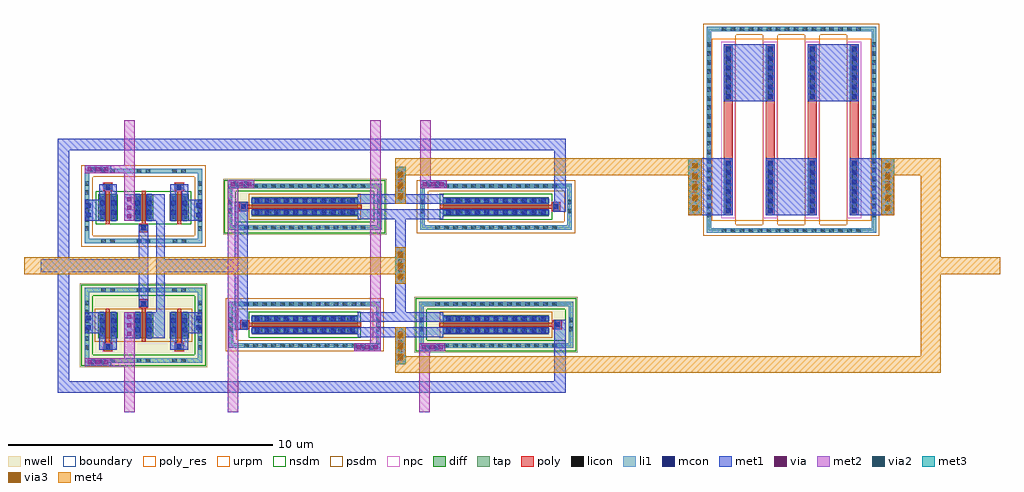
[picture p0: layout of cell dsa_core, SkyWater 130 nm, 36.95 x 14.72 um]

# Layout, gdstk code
from math import pi, radians
import gdstk
lib = gdstk.Library(unit=1e-6, precision=1e-09)
def R(c, l, rs):  # rectangles x0, y0, x1, y1
    for r in rs: c.add(gdstk.rectangle(r[:2], r[2:], *l))
def A(c, l, x, y, w, h, nx, ny, dx, dy):  # array of equal rectangles
    R(c, l, [(x+i*dx, y+j*dy, x+i*dx+w, y+j*dy+h) for i in range(nx) for j in range(ny)])
nwell = (64, 20)
diff = (65, 20)
tap = (65, 44)
poly_res = (66, 13)
poly = (66, 20)
licon = (66, 44)
li1 = (67, 20)
mcon = (67, 44)
met1 = (68, 20)
via = (68, 44)
met2 = (69, 20)
via2 = (69, 44)
met3 = (70, 20)
via3 = (70, 44)
met4 = (71, 20)
urpm = (79, 20)
nsdm = (93, 44)
psdm = (94, 20)
npc = (95, 20)
boundary = (235, 4)

via_new_6 = lib.new_cell('via_new$6')
A(via_new_6, via, 0.175, -0.875, 0.15, 0.15, 1, 6, 0, 0.32)
A(via_new_6, via2, 0.15, -0.9, 0.2, 0.2, 1, 5, 0, 0.4)
A(via_new_6, via3, 0.15, -0.9, 0.2, 0.2, 1, 5, 0, 0.4)
via_new_6.add(gdstk.FlexPath([(0,0),(0.5,0)], 2.16, ends="flush", simple_path=True, layer=68, datatype=20))  # met1
via_new_6.add(gdstk.FlexPath([(0,0),(0.5,0)], 2.16, ends="flush", simple_path=True, layer=69, datatype=20))  # met2
via_new_6.add(gdstk.FlexPath([(0,0),(0.5,0)], 2.16, ends="flush", simple_path=True, layer=70, datatype=20))  # met3
via_new_6.add(gdstk.FlexPath([(0,0),(0.5,0)], 2.16, ends="flush", simple_path=True, layer=71, datatype=20))  # met4

sky130_fd_pr__res_xhigh_ = lib.new_cell('sky130_fd_pr__res_xhigh_po_0p35')
R(sky130_fd_pr__res_xhigh_, tap, [(0.125,0.125,6.545,0.295), (0.125,0.295,0.295,7.745), (6.375,0.295,6.545,7.745), (0.125,7.745,6.545,7.915)])
A(sky130_fd_pr__res_xhigh_, poly_res, 0.775, 2.875, 0.35, 2.29, 4, 1, 1.59, 0)
A(sky130_fd_pr__res_xhigh_, poly, 0.775, 0.775, 0.35, 6.49, 4, 1, 1.59, 0)
A(sky130_fd_pr__res_xhigh_, licon, 0.7, 0.125, 0.17, 0.17, 16, 2, 0.34, 7.62)
A(sky130_fd_pr__res_xhigh_, licon, 0.125, 0.705, 0.17, 0.17, 1, 20, 0, 0.34)
A(sky130_fd_pr__res_xhigh_, licon, 6.375, 0.705, 0.17, 0.17, 1, 20, 0, 0.34)
A(sky130_fd_pr__res_xhigh_, licon, 0.855, 0.855, 0.19, 2, 4, 2, 1.59, 4.33)
A(sky130_fd_pr__res_xhigh_, li1, 0.775, 0.775, 0.35, 2.16, 4, 2, 1.59, 4.33)
R(sky130_fd_pr__res_xhigh_, li1, [(0.125,0.125,6.545,0.295), (0.125,0.295,0.295,7.745), (6.375,0.295,6.545,7.745), (0.125,7.745,6.545,7.915)])
A(sky130_fd_pr__res_xhigh_, mcon, 0.865, 0.87, 0.17, 0.17, 4, 6, 1.59, 0.36)
A(sky130_fd_pr__res_xhigh_, mcon, 0.865, 5.195, 0.17, 0.17, 4, 6, 1.59, 0.36)
A(sky130_fd_pr__res_xhigh_, met1, 0.825, 0.805, 0.25, 2.105, 4, 2, 1.59, 4.325)
R(sky130_fd_pr__res_xhigh_, met1, [(2.365,0.775,4.305,2.935), (0.775,5.105,2.715,7.265), (3.955,5.105,5.895,7.265)])
R(sky130_fd_pr__res_xhigh_, urpm, [(0.315,0.575,6.355,7.465)])
R(sky130_fd_pr__res_xhigh_, psdm, [(0,0,6.67,0.42), (0,0.42,1.235,7.62), (2.255,0.42,2.825,7.62), (3.845,0.42,4.415,7.62), (5.435,0.42,6.67,7.62), (0,7.62,6.67,8.04)])
A(sky130_fd_pr__res_xhigh_, npc, 0.68, 0.68, 0.54, 6.68, 4, 1, 1.59, 0)
R(sky130_fd_pr__res_xhigh_, boundary, [(0.21,0.21,6.46,7.83)])

via_new_1 = lib.new_cell('via_new$1')
A(via_new_1, via, 0.135, -0.075, 0.15, 0.15, 4, 1, 0.32, 0)
A(via_new_1, via2, 0.19, -0.1, 0.2, 0.2, 3, 1, 0.4, 0)
A(via_new_1, via3, 0.19, -0.1, 0.2, 0.2, 3, 1, 0.4, 0)
via_new_1.add(gdstk.FlexPath([(0,0),(1.38,0)], 0.4, ends="flush", simple_path=True, layer=68, datatype=20))  # met1
via_new_1.add(gdstk.FlexPath([(0,0),(1.38,0)], 0.4, ends="flush", simple_path=True, layer=69, datatype=20))  # met2
via_new_1.add(gdstk.FlexPath([(0,0),(1.38,0)], 0.4, ends="flush", simple_path=True, layer=70, datatype=20))  # met3
via_new_1.add(gdstk.FlexPath([(0,0),(1.38,0)], 0.4, ends="flush", simple_path=True, layer=71, datatype=20))  # met4

sky130_fd_pr__nfet_01v8_ = lib.new_cell('sky130_fd_pr__nfet_01v8$3')
R(sky130_fd_pr__nfet_01v8_, diff, [(-11.055,2.525,-7.055,3.255)])
R(sky130_fd_pr__nfet_01v8_, tap, [(-11.925,2.015,-11.755,3.765), (-11.755,2.015,-6.355,2.185), (-6.355,2.015,-6.185,3.765), (-11.755,3.595,-6.355,3.765)])
R(sky130_fd_pr__nfet_01v8_, poly, [(-11.495,2.725,-11.165,3.055), (-11.165,2.815,-6.945,2.965)])
A(sky130_fd_pr__nfet_01v8_, licon, -11.35, 2.015, 0.17, 0.17, 14, 2, 0.34, 1.58)
A(sky130_fd_pr__nfet_01v8_, licon, -10.84, 2.585, 0.17, 0.17, 11, 2, 0.34, 0.44)
R(sky130_fd_pr__nfet_01v8_, licon, [(-11.925,2.635,-11.755,2.805), (-6.355,2.635,-6.185,2.805), (-11.415,2.805,-11.245,2.975), (-11.925,2.975,-11.755,3.145), (-6.355,2.975,-6.185,3.145)])
R(sky130_fd_pr__nfet_01v8_, li1, [(-11.925,2.015,-11.755,3.765), (-11.755,2.015,-6.355,2.185), (-6.355,2.015,-6.185,3.765), (-11.075,2.585,-7.035,2.755), (-11.415,2.725,-11.245,3.055), (-11.075,3.025,-7.035,3.195), (-11.755,3.595,-6.355,3.765)])
A(sky130_fd_pr__nfet_01v8_, mcon, -10.94, 2.585, 0.17, 0.17, 11, 2, 0.36, 0.44)
R(sky130_fd_pr__nfet_01v8_, mcon, [(-11.415,2.805,-11.245,2.975)])
R(sky130_fd_pr__nfet_01v8_, met1, [(-11.055,2.555,-7.055,2.785), (-11.445,2.705,-11.215,2.745), (-11.445,2.745,-11.215,3.035), (-11.055,2.995,-7.055,3.225), (-11.445,3.035,-11.215,3.075)])
R(sky130_fd_pr__nfet_01v8_, nsdm, [(-11.18,2.4,-6.93,3.38)])
R(sky130_fd_pr__nfet_01v8_, psdm, [(-12.05,1.89,-11.63,3.89), (-11.63,1.89,-6.48,2.31), (-6.48,1.89,-6.06,3.89), (-11.63,3.47,-6.48,3.89)])
R(sky130_fd_pr__nfet_01v8_, npc, [(-11.515,2.705,-11.145,3.075)])
R(sky130_fd_pr__nfet_01v8_, boundary, [(-11.84,2.1,-6.27,3.68)])

sky130_fd_pr__pfet_01v8_ = lib.new_cell('sky130_fd_pr__pfet_01v8$3')
R(sky130_fd_pr__pfet_01v8_, nwell, [(-12.05,1.89,-5.86,4)])
R(sky130_fd_pr__pfet_01v8_, diff, [(-10.955,2.58,-6.955,3.31)])
R(sky130_fd_pr__pfet_01v8_, tap, [(-11.87,2.07,-11.7,3.82), (-11.7,2.07,-6.21,2.24), (-6.21,2.07,-6.04,3.82), (-11.7,3.65,-6.21,3.82)])
R(sky130_fd_pr__pfet_01v8_, poly, [(-6.8,2.78,-6.47,3.11), (-11.11,2.87,-6.8,3.02)])
A(sky130_fd_pr__pfet_01v8_, licon, -11.25, 2.07, 0.17, 0.17, 14, 2, 0.34, 1.58)
A(sky130_fd_pr__pfet_01v8_, licon, -10.74, 2.64, 0.17, 0.17, 11, 2, 0.34, 0.44)
R(sky130_fd_pr__pfet_01v8_, licon, [(-11.87,2.69,-11.7,2.86), (-6.21,2.69,-6.04,2.86), (-6.72,2.86,-6.55,3.03), (-11.87,3.03,-11.7,3.2), (-6.21,3.03,-6.04,3.2)])
R(sky130_fd_pr__pfet_01v8_, li1, [(-11.87,2.07,-11.7,3.82), (-11.7,2.07,-6.21,2.24), (-6.21,2.07,-6.04,3.82), (-10.975,2.64,-6.935,2.81), (-6.72,2.78,-6.55,3.11), (-10.975,3.08,-6.935,3.25), (-11.7,3.65,-6.21,3.82)])
A(sky130_fd_pr__pfet_01v8_, mcon, -10.84, 2.64, 0.17, 0.17, 11, 2, 0.36, 0.44)
R(sky130_fd_pr__pfet_01v8_, mcon, [(-6.72,2.86,-6.55,3.03)])
R(sky130_fd_pr__pfet_01v8_, met1, [(-10.955,2.61,-6.955,2.84), (-6.75,2.76,-6.52,2.8), (-6.75,2.8,-6.52,3.09), (-10.955,3.05,-6.955,3.28), (-6.75,3.09,-6.52,3.13)])
R(sky130_fd_pr__pfet_01v8_, nsdm, [(-11.995,1.945,-11.575,3.945), (-11.575,1.945,-6.335,2.365), (-6.335,1.945,-5.915,3.945), (-11.575,3.525,-6.335,3.945)])
R(sky130_fd_pr__pfet_01v8_, psdm, [(-11.08,2.455,-6.83,3.435)])
R(sky130_fd_pr__pfet_01v8_, npc, [(-6.82,2.76,-6.45,3.13)])
R(sky130_fd_pr__pfet_01v8_, boundary, [(-11.785,2.155,-6.125,3.735)])

transmissiongate = lib.new_cell('transmissiongate')
R(transmissiongate, met1, [(-9.895,3.87,-9.695,4.79), (-9.695,3.87,-9.495,4.79), (-11.315,4.42,-8.075,4.79), (-11.315,5,-8.075,5.37), (-9.895,5,-9.695,5.92), (-9.695,5,-9.495,5.92)])
transmissiongate.add(gdstk.Reference(sky130_fd_pr__nfet_01v8_, (-4.26,2.005)))
transmissiongate.add(gdstk.Reference(sky130_fd_pr__pfet_01v8_, (2.88,1.95)))

via_new = lib.new_cell('via_new')
A(via_new, via, 0.145, -0.075, 0.15, 0.15, 4, 1, 0.32, 0)
A(via_new, via2, 0.2, -0.1, 0.2, 0.2, 3, 1, 0.4, 0)
A(via_new, via3, 0.2, -0.1, 0.2, 0.2, 3, 1, 0.4, 0)
via_new.add(gdstk.FlexPath([(0,0),(1.4,0)], 0.4, ends="flush", simple_path=True, layer=68, datatype=20))  # met1
via_new.add(gdstk.FlexPath([(0,0),(1.4,0)], 0.4, ends="flush", simple_path=True, layer=69, datatype=20))  # met2
via_new.add(gdstk.FlexPath([(0,0),(1.4,0)], 0.4, ends="flush", simple_path=True, layer=70, datatype=20))  # met3
via_new.add(gdstk.FlexPath([(0,0),(1.4,0)], 0.4, ends="flush", simple_path=True, layer=71, datatype=20))  # met4

via_new_4 = lib.new_cell('via_new$4')
R(via_new_4, mcon, [(0.235,-0.085,0.405,0.085), (0.595,-0.085,0.765,0.085)])
A(via_new_4, via, 0.105, -0.075, 0.15, 0.15, 3, 1, 0.32, 0)
via_new_4.add(gdstk.FlexPath([(0,0),(1,0)], 0.3, ends="flush", simple_path=True, layer=67, datatype=20))  # li1
via_new_4.add(gdstk.FlexPath([(0,0),(1,0)], 0.3, ends="flush", simple_path=True, layer=68, datatype=20))  # met1
via_new_4.add(gdstk.FlexPath([(0,0),(1,0)], 0.3, ends="flush", simple_path=True, layer=69, datatype=20))  # met2

via_new_5 = lib.new_cell('via_new$5')
A(via_new_5, via, 0.105, -0.075, 0.15, 0.15, 3, 1, 0.32, 0)
via_new_5.add(gdstk.FlexPath([(0,0),(1,0)], 0.4, ends="flush", simple_path=True, layer=68, datatype=20))  # met1
via_new_5.add(gdstk.FlexPath([(0,0),(1,0)], 0.4, ends="flush", simple_path=True, layer=69, datatype=20))  # met2

c_sky130_fd_pr__nfet_01v8_ = lib.new_cell('sky130_fd_pr__nfet_01v8$2')
A(c_sky130_fd_pr__nfet_01v8_, diff, 0.635, 0.985, 0.73, 1, 3, 1, 1.35, 0)
R(c_sky130_fd_pr__nfet_01v8_, tap, [(0.125,0.125,1.875,0.295), (0.125,0.125,1.875,0.295), (1.875,0.125,2.825,0.295), (2.825,0.125,4.575,0.295), (0.125,0.295,0.295,2.785), (4.405,0.295,4.575,2.785), (0.125,2.785,1.875,2.955), (1.875,2.785,2.825,2.955), (2.825,2.785,4.575,2.955), (2.825,2.785,4.575,2.955)])
R(c_sky130_fd_pr__nfet_01v8_, poly, [(2.185,0.545,2.515,0.875), (0.925,0.855,1.075,2.095), (3.625,0.855,3.775,2.095), (2.275,0.875,2.425,2.115), (0.835,2.095,1.165,2.425), (3.535,2.095,3.865,2.425)])
A(c_sky130_fd_pr__nfet_01v8_, licon, 0.125, 0.605, 0.17, 0.17, 1, 6, 0, 0.34)
A(c_sky130_fd_pr__nfet_01v8_, licon, 4.405, 0.605, 0.17, 0.17, 1, 6, 0, 0.34)
A(c_sky130_fd_pr__nfet_01v8_, licon, 0.695, 1.06, 0.17, 0.17, 1, 3, 0, 0.34)
A(c_sky130_fd_pr__nfet_01v8_, licon, 1.135, 1.06, 0.17, 0.17, 1, 3, 0, 0.34)
A(c_sky130_fd_pr__nfet_01v8_, licon, 2.045, 1.06, 0.17, 0.17, 1, 3, 0, 0.34)
A(c_sky130_fd_pr__nfet_01v8_, licon, 2.485, 1.06, 0.17, 0.17, 1, 3, 0, 0.34)
A(c_sky130_fd_pr__nfet_01v8_, licon, 3.395, 1.06, 0.17, 0.17, 1, 3, 0, 0.34)
A(c_sky130_fd_pr__nfet_01v8_, licon, 3.835, 1.06, 0.17, 0.17, 1, 3, 0, 0.34)
R(c_sky130_fd_pr__nfet_01v8_, licon, [(0.745,0.125,0.915,0.295), (0.745,0.125,0.915,0.295), (1.085,0.125,1.255,0.295), (1.085,0.125,1.255,0.295), (2.1,0.125,2.27,0.295), (2.44,0.125,2.61,0.295), (3.455,0.125,3.625,0.295), (3.795,0.125,3.965,0.295), (2.265,0.625,2.435,0.795), (0.915,2.175,1.085,2.345), (3.615,2.175,3.785,2.345), (0.745,2.785,0.915,2.955), (1.085,2.785,1.255,2.955), (2.1,2.785,2.27,2.955), (2.44,2.785,2.61,2.955), (3.445,2.785,3.615,2.955), (3.445,2.785,3.615,2.955), (3.785,2.785,3.955,2.955), (3.785,2.785,3.955,2.955)])
R(c_sky130_fd_pr__nfet_01v8_, li1, [(0.125,0.125,1.875,0.295), (0.125,0.125,1.875,0.295), (1.875,0.125,2.825,0.295), (2.825,0.125,4.575,0.295), (0.125,0.295,0.295,2.785), (4.405,0.295,4.575,2.785), (2.185,0.625,2.515,0.795), (0.695,0.965,0.865,2.005), (1.135,0.965,1.305,2.005), (2.045,0.965,2.215,2.005), (2.485,0.965,2.655,2.005), (3.395,0.965,3.565,2.005), (3.835,0.965,4.005,2.005), (0.835,2.175,1.165,2.345), (3.535,2.175,3.865,2.345), (0.125,2.785,1.875,2.955), (1.875,2.785,2.825,2.955), (2.825,2.785,4.575,2.955), (2.825,2.785,4.575,2.955)])
R(c_sky130_fd_pr__nfet_01v8_, mcon, [(2.265,0.625,2.435,0.795), (0.695,1.22,0.865,1.39), (1.135,1.22,1.305,1.39), (2.045,1.22,2.215,1.39), (2.485,1.22,2.655,1.39), (3.395,1.22,3.565,1.39), (3.835,1.22,4.005,1.39), (0.695,1.58,0.865,1.75), (1.135,1.58,1.305,1.75), (2.045,1.58,2.215,1.75), (2.485,1.58,2.655,1.75), (3.395,1.58,3.565,1.75), (3.835,1.58,4.005,1.75), (0.915,2.175,1.085,2.345), (3.615,2.175,3.785,2.345)])
R(c_sky130_fd_pr__nfet_01v8_, met1, [(2.165,0.595,2.535,0.825), (0.665,0.985,0.895,1.985), (1.105,0.985,1.335,1.985), (2.015,0.985,2.245,1.985), (2.455,0.985,2.685,1.985), (3.365,0.985,3.595,1.985), (3.805,0.985,4.035,1.985), (0.815,2.145,1.185,2.375), (3.515,2.145,3.885,2.375)])
R(c_sky130_fd_pr__nfet_01v8_, nsdm, [(0.545,0.86,4.16,2.11)])
R(c_sky130_fd_pr__nfet_01v8_, psdm, [(0,0,2,0.42), (2,0,2.7,0.42), (2.7,0,4.7,0.42), (0,0.42,0.42,2.66), (4.28,0.42,4.7,2.66), (0,2.66,2,3.08), (2,2.66,2.7,3.08), (2.7,2.66,4.7,3.08)])
R(c_sky130_fd_pr__nfet_01v8_, npc, [(2.165,0.525,2.535,0.895), (0.815,2.075,1.185,2.445), (3.515,2.075,3.885,2.445)])

c_sky130_fd_pr__pfet_01v8_ = lib.new_cell('sky130_fd_pr__pfet_01v8$2')
R(c_sky130_fd_pr__pfet_01v8_, nwell, [(0,0,4.81,3.19)])
A(c_sky130_fd_pr__pfet_01v8_, diff, 0.69, 1.095, 0.73, 1, 3, 1, 1.35, 0)
R(c_sky130_fd_pr__pfet_01v8_, tap, [(0.18,0.18,1.93,0.35), (0.18,0.18,1.93,0.35), (1.93,0.18,2.88,0.35), (2.88,0.18,4.63,0.35), (0.18,0.35,0.35,2.84), (4.46,0.35,4.63,2.84), (0.18,2.84,1.93,3.01), (1.93,2.84,2.88,3.01), (2.88,2.84,4.63,3.01), (2.88,2.84,4.63,3.01)])
R(c_sky130_fd_pr__pfet_01v8_, poly, [(0.89,0.61,1.22,0.94), (3.59,0.61,3.92,0.94), (0.98,0.915,1.13,2.225), (3.68,0.915,3.83,2.225), (2.33,0.965,2.48,2.275), (2.24,2.25,2.57,2.58)])
A(c_sky130_fd_pr__pfet_01v8_, licon, 0.18, 0.66, 0.17, 0.17, 1, 6, 0, 0.34)
A(c_sky130_fd_pr__pfet_01v8_, licon, 4.46, 0.66, 0.17, 0.17, 1, 6, 0, 0.34)
A(c_sky130_fd_pr__pfet_01v8_, licon, 0.75, 1.17, 0.17, 0.17, 1, 3, 0, 0.34)
A(c_sky130_fd_pr__pfet_01v8_, licon, 1.19, 1.17, 0.17, 0.17, 1, 3, 0, 0.34)
A(c_sky130_fd_pr__pfet_01v8_, licon, 2.1, 1.17, 0.17, 0.17, 1, 3, 0, 0.34)
A(c_sky130_fd_pr__pfet_01v8_, licon, 2.54, 1.17, 0.17, 0.17, 1, 3, 0, 0.34)
A(c_sky130_fd_pr__pfet_01v8_, licon, 3.45, 1.17, 0.17, 0.17, 1, 3, 0, 0.34)
A(c_sky130_fd_pr__pfet_01v8_, licon, 3.89, 1.17, 0.17, 0.17, 1, 3, 0, 0.34)
R(c_sky130_fd_pr__pfet_01v8_, licon, [(0.8,0.18,0.97,0.35), (0.8,0.18,0.97,0.35), (1.14,0.18,1.31,0.35), (1.14,0.18,1.31,0.35), (2.155,0.18,2.325,0.35), (2.495,0.18,2.665,0.35), (3.5,0.18,3.67,0.35), (3.84,0.18,4.01,0.35), (0.97,0.69,1.14,0.86), (3.67,0.69,3.84,0.86), (2.32,2.33,2.49,2.5), (0.8,2.84,0.97,3.01), (1.14,2.84,1.31,3.01), (2.155,2.84,2.325,3.01), (2.495,2.84,2.665,3.01), (3.5,2.84,3.67,3.01), (3.5,2.84,3.67,3.01), (3.84,2.84,4.01,3.01), (3.84,2.84,4.01,3.01)])
R(c_sky130_fd_pr__pfet_01v8_, li1, [(0.18,0.18,1.93,0.35), (0.18,0.18,1.93,0.35), (1.93,0.18,2.88,0.35), (2.88,0.18,4.63,0.35), (0.18,0.35,0.35,2.84), (4.46,0.35,4.63,2.84), (0.89,0.69,1.22,0.86), (3.59,0.69,3.92,0.86), (0.75,1.075,0.92,2.115), (1.19,1.075,1.36,2.115), (2.1,1.075,2.27,2.115), (2.54,1.075,2.71,2.115), (3.45,1.075,3.62,2.115), (3.89,1.075,4.06,2.115), (2.24,2.33,2.57,2.5), (0.18,2.84,1.93,3.01), (1.93,2.84,2.88,3.01), (2.88,2.84,4.63,3.01), (2.88,2.84,4.63,3.01)])
R(c_sky130_fd_pr__pfet_01v8_, mcon, [(0.97,0.69,1.14,0.86), (3.67,0.69,3.84,0.86), (0.75,1.33,0.92,1.5), (1.19,1.33,1.36,1.5), (2.1,1.33,2.27,1.5), (2.54,1.33,2.71,1.5), (3.45,1.33,3.62,1.5), (3.89,1.33,4.06,1.5), (0.75,1.69,0.92,1.86), (1.19,1.69,1.36,1.86), (2.1,1.69,2.27,1.86), (2.54,1.69,2.71,1.86), (3.45,1.69,3.62,1.86), (3.89,1.69,4.06,1.86), (2.32,2.33,2.49,2.5)])
R(c_sky130_fd_pr__pfet_01v8_, met1, [(0.87,0.66,1.24,0.89), (3.57,0.66,3.94,0.89), (0.72,1.095,0.95,2.095), (1.16,1.095,1.39,2.095), (2.07,1.095,2.3,2.095), (2.51,1.095,2.74,2.095), (3.42,1.095,3.65,2.095), (3.86,1.095,4.09,2.095), (2.22,2.3,2.59,2.53)])
R(c_sky130_fd_pr__pfet_01v8_, nsdm, [(0.055,0.055,2.055,0.475), (2.055,0.055,2.755,0.475), (2.755,0.055,4.755,0.475), (0.055,0.475,0.475,2.715), (4.335,0.475,4.755,2.715), (0.055,2.715,2.055,3.135), (2.055,2.715,2.755,3.135), (2.755,2.715,4.755,3.135)])
R(c_sky130_fd_pr__pfet_01v8_, psdm, [(0.565,0.97,4.245,2.22)])
R(c_sky130_fd_pr__pfet_01v8_, npc, [(0.87,0.59,1.24,0.96), (3.57,0.59,3.94,0.96), (2.22,2.23,2.59,2.6)])

via_new_6_1 = lib.new_cell('via_new$6$1')
R(via_new_6_1, mcon, [(0.135,-0.085,0.305,0.085), (0.495,-0.085,0.665,0.085)])
via_new_6_1.add(gdstk.FlexPath([(0,0),(0.8,0)], 0.3, ends="flush", simple_path=True, layer=67, datatype=20))  # li1
via_new_6_1.add(gdstk.FlexPath([(0,0),(0.8,0)], 0.3, ends="flush", simple_path=True, layer=68, datatype=20))  # met1

inverter = lib.new_cell('inverter')
R(inverter, met1, [(-6.16,-0.53,-5.93,-0.095), (-5.72,-0.53,-5.49,-0.095), (-3.46,-0.53,-3.23,-0.095), (-3.02,-0.53,-2.79,-0.095), (-4.37,-0.095,-3.67,0.905), (-6.4,0.105,-6.16,0.905), (-2.79,0.105,-2.55,0.905), (-3.99,0.905,-3.67,4.36), (-4.66,1.11,-4.29,4.2), (-6.4,4.36,-6.16,5.16), (-4.37,4.36,-3.67,5.36), (-2.79,4.36,-2.55,5.16), (-6.16,5.36,-5.93,5.75), (-5.72,5.36,-5.49,5.75), (-3.46,5.36,-3.23,5.75), (-3.02,5.36,-2.79,5.75)])
inverter.add(gdstk.Reference(c_sky130_fd_pr__nfet_01v8_, (-6.825,3.375)))
inverter.add(gdstk.Reference(c_sky130_fd_pr__pfet_01v8_, (-6.88,-1.19)))
inverter.add(gdstk.Reference(via_new_6_1, (-6.55,4.36), rotation=pi/2))
inverter.add(gdstk.Reference(via_new_6_1, (-2.4,5.16), rotation=3*pi/2))
inverter.add(gdstk.Reference(via_new_6_1, (-6.55,0.105), rotation=pi/2))
inverter.add(gdstk.Reference(via_new_6_1, (-2.4,0.905), rotation=3*pi/2))

spdt = lib.new_cell('spdt')
R(spdt, poly, [(3.74,0.35,3.76,0.5), (6.74,4.82,6.76,4.97)])
R(spdt, met1, [(-1.02,0.24,-0.53,5.08), (5.05,1.45,5.45,3.87), (-8.375,2.41,-4.66,2.66), (-3.99,2.41,-0.58,2.66), (-8.375,2.66,-4.66,2.91), (-3.99,2.66,-0.58,2.91)])
R(spdt, met2, [(-5.21,-2.895,-4.81,-0.095), (-1.285,-2.895,-0.885,-0.28), (5.955,-2.895,6.355,-0.28), (-5.7,-1.14,-5.21,-0.84), (-1.285,-0.28,-0.885,5.6), (4.1,-0.28,4.5,5.6), (-5.21,5.36,-4.81,8.16), (4.1,5.6,4.5,8.16), (6,5.6,6.4,8.16), (-5.7,6.16,-5.21,6.46)])
R(spdt, met4, [(5.05,-1.4,10.1,-1.08), (5.05,-1.08,10.1,-0.76), (-9,2.34,-1.6,2.98), (-1.6,2.34,3.45,2.66), (3.45,2.34,5.45,2.98), (-1.6,2.66,3.45,2.98), (5.05,6.08,10.1,6.4), (5.05,6.4,10.1,6.72)])
spdt.add(gdstk.FlexPath([(-7.5,2.66),(-7.5,-1.93),(11.29,-1.93),(11.29,0.395),(11.29,0.395),(11.29,0.395)], 0.43, ends="extended", simple_path=True, layer=68, datatype=20))  # met1
spdt.add(gdstk.FlexPath([(-7.5,2.66),(-7.5,7.25),(11.29,7.25),(11.29,4.925),(11.29,4.925),(11.29,4.925)], 0.43, ends="extended", simple_path=True, layer=68, datatype=20))  # met1
spdt.add(gdstk.Reference(via_new_1, (5.25,1.97), rotation=pi/2))
spdt.add(gdstk.Reference(transmissiongate, (14.945,-4.47)))
spdt.add(gdstk.Reference(via_new, (5.25,5), rotation=pi/2))
spdt.add(gdstk.Reference(via_new_4, (-5.7,6.31), rotation=pi))
spdt.add(gdstk.Reference(via_new_4, (-5.7,-0.99), rotation=pi))
spdt.add(gdstk.Reference(via_new_5, (-5.01,4.36), rotation=pi/2))
spdt.add(gdstk.Reference(via_new_5, (-5.01,-0.095), rotation=pi/2))
spdt.add(gdstk.Reference(via_new_4, (6.955,-0.43), rotation=pi))
spdt.add(gdstk.Reference(via_new_4, (4.5,-0.43), rotation=pi))
spdt.add(gdstk.Reference(inverter, (0,0)))
spdt.add(gdstk.Reference(transmissiongate, (-4.445,0), rotation=pi, x_reflection=True))
spdt.add(gdstk.Reference(via_new, (5.25,-1.08), rotation=pi/2))
spdt.add(gdstk.Reference(via_new_4, (-0.285,5.75), rotation=pi))
spdt.add(gdstk.Reference(via_new_4, (7,5.75), rotation=pi))

dsa_core = lib.new_cell('dsa_core')
R(dsa_core, met1, [(9.3,4.56,10.99,6.72), (15.41,4.56,17.1,6.72)])
R(dsa_core, met4, [(3.25,-1.4,5.47,-0.76), (5.47,-1.4,8.1,-0.76), (8.1,-1.4,17.1,-0.76), (17.1,-1.4,18.3,-0.76), (18.1,-1.4,18.85,6.72), (18.1,2.34,21.1,2.98), (3.25,6.08,5.47,6.72), (5.47,6.08,8.1,6.72), (8.1,6.08,9.3,6.72), (17.1,6.08,18.3,6.72)])
dsa_core.add(gdstk.Reference(via_new_6, (16.6,5.64)))
dsa_core.add(gdstk.Reference(via_new_6, (9.8,5.64), rotation=pi))
dsa_core.add(gdstk.Reference(sky130_fd_pr__res_xhigh_, (9.865,3.785)))
dsa_core.add(gdstk.Reference(spdt, (-6.85,0)))

lib.write_gds('dsa_core.gds')
